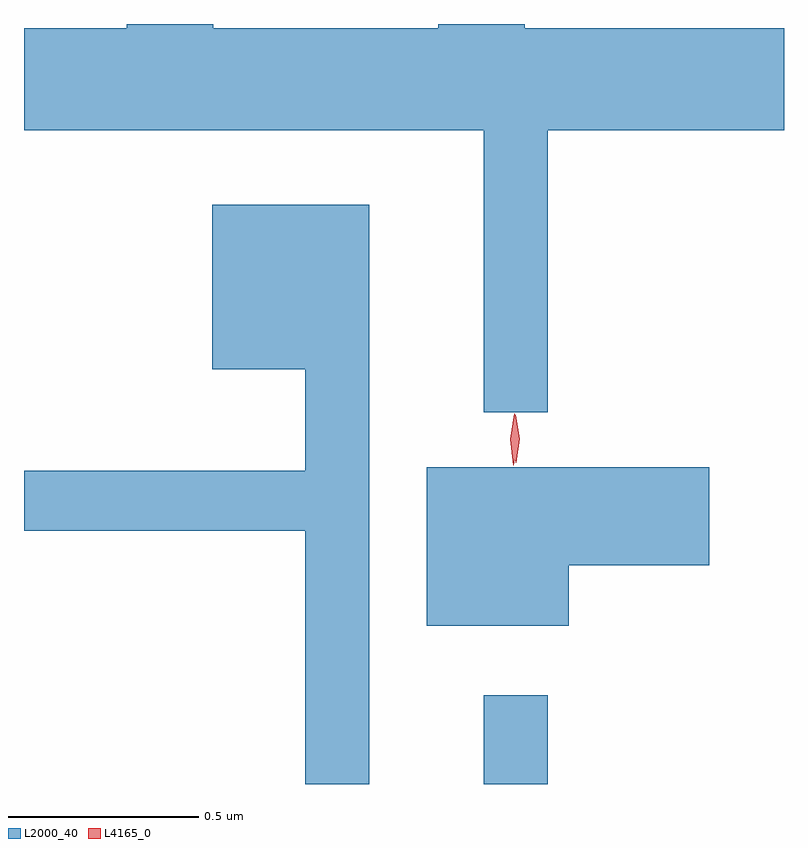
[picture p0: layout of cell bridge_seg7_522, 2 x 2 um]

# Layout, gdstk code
import gdstk
lib = gdstk.Library(unit=1e-6, precision=1e-09)
def R(c, l, rs):  # rectangles x0, y0, x1, y1
    for r in rs: c.add(gdstk.rectangle(r[:2], r[2:], *l))
def P(c, l, *ps):  # polygons
    for p in ps: c.add(gdstk.Polygon(p, *l))
L2000_40 = (2000, 40)
L4165_0 = (4165, 0)

bridge_seg7_522 = lib.new_cell('bridge_seg7_522')
R(bridge_seg7_522, L2000_40, [(1281.241,1725.915,1281.409,1726.148)])
P(bridge_seg7_522, L2000_40, [(1281.409,1727.636),(1282.031,1727.636),(1282.031,1727.904),(1281.349,1727.904),(1281.349,1727.915),(1281.121,1727.915),(1281.121,1727.904),(1280.529,1727.904),(1280.529,1727.915),(1280.301,1727.915),(1280.301,1727.904),(1280.031,1727.904),(1280.031,1727.636),(1281.241,1727.636),(1281.241,1726.893),(1281.409,1726.893)],
  [(1280.939,1727.439),(1280.526,1727.439),(1280.526,1727.006),(1280.771,1727.006),(1280.771,1726.739),(1280.031,1726.739),(1280.031,1726.581),(1280.771,1726.581),(1280.771,1725.915),(1280.939,1725.915)],
  [(1281.464,1726.491),(1281.834,1726.491),(1281.834,1726.749),(1281.091,1726.749),(1281.091,1726.331),(1281.464,1726.331)])
P(bridge_seg7_522, L4165_0, [(1281.319,1726.754),(1281.311,1726.822),(1281.321,1726.89),(1281.321,1726.89),(1281.322,1726.89),(1281.33,1726.822),(1281.32,1726.754),(1281.32,1726.754)],
  [(1281.325,1726.76),(1281.325,1726.76),(1281.315,1726.823),(1281.324,1726.886),(1281.325,1726.887),(1281.325,1726.886),(1281.335,1726.823),(1281.326,1726.76)])

lib.write_gds('bridge_seg7_522.gds')
